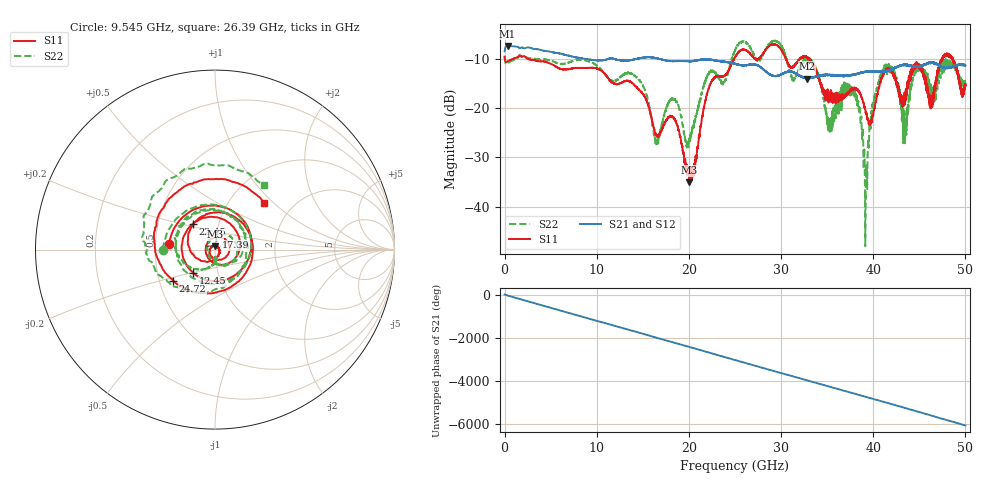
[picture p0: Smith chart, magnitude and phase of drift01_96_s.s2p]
!Created with skrf (http://scikit-rf.org).
# Hz S RI R 50.0
!freq ReS11 ImS11 ReS21 ImS21 ReS12 ImS12 ReS22 ImS22
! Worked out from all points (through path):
!   10001 points, 300 kHz to 50 GHz, reference 50 ohm
!   highest |S21| = -7.33 dB at 325.3 MHz (marker M1); lowest = -14.0 dB at 32.82 GHz (marker M2)
!   group delay of S21, straight-line fit = 335 ps
!   lowest |S11| = -35.0 dB at 20.01 GHz (marker M3), VSWR 1.04, Z = 49.9 + j1.77 ohm
!   |S11| at or under -10 dB: 2.553 GHz to 24.9 GHz (22.35 GHz wide, 163 % of centre); 30.52 GHz to 32.02 GHz (1.493 GHz wide, 4.78 % of centre); 33.07 GHz to 47.44 GHz (14.37 GHz wide, 35.7 % of centre) (the widest 3 of 20)
!   |S22| runs from -48.0 to -6.2 dB; largest |S21 - S12| = 0.0099
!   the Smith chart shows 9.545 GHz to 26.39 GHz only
!   S11 on the Smith chart (normalised r, x): 9.545 GHz: 0.59, +0.04; 12.45 GHz: 0.76, -0.20; 17.39 GHz: 1.01, +0.14; 22.45 GHz: 0.75, +0.22; 24.72 GHz: 0.59, -0.22; 26.39 GHz: 1.43, +0.87
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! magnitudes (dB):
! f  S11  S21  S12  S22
! 300 kHz  -9.5  -8.4  -8.5  -9.5
! 325.3 MHz  -10.5  -7.3  -7.3  -10.9
! 8.335 GHz  -11.8  -9.9  -9.9  -10.2
! 9.545 GHz  -11.8  -10.2  -10.2  -10.8
! 12.45 GHz  -15.0  -10.2  -10.2  -13.9
! 16.67 GHz  -25.7  -9.9  -9.9  -27.1
! 17.39 GHz  -23.0  -10.3  -10.3  -20.6
! 20.01 GHz  -35.0  -10.5  -10.5  -26.8
! 22.45 GHz  -14.5  -10.2  -10.2  -12.6
! 24.72 GHz  -10.7  -10.8  -10.8  -9.6
! 25 GHz  -9.6  -11.0  -11.0  -8.3
! 26.39 GHz  -8.5  -11.2  -11.2  -6.9
! 32.82 GHz  -9.7  -14.0  -13.9  -9.9
! 33.34 GHz  -10.6  -13.8  -13.8  -10.6
! 35.23 GHz  -17.1  -13.3  -13.2  -22.6
! 37.99 GHz  -16.0  -13.1  -13.1  -17.0
! 39.17 GHz  -20.7  -12.6  -12.6  -40.8
! 40.14 GHz  -20.0  -12.5  -12.5  -17.6
! 41.67 GHz  -12.0  -12.3  -12.3  -11.6
! 43.45 GHz  -17.6  -11.3  -11.3  -27.1
! 44.88 GHz  -11.2  -11.6  -11.5  -11.7
! 50 GHz  -15.3  -11.4  -11.3  -15.0
